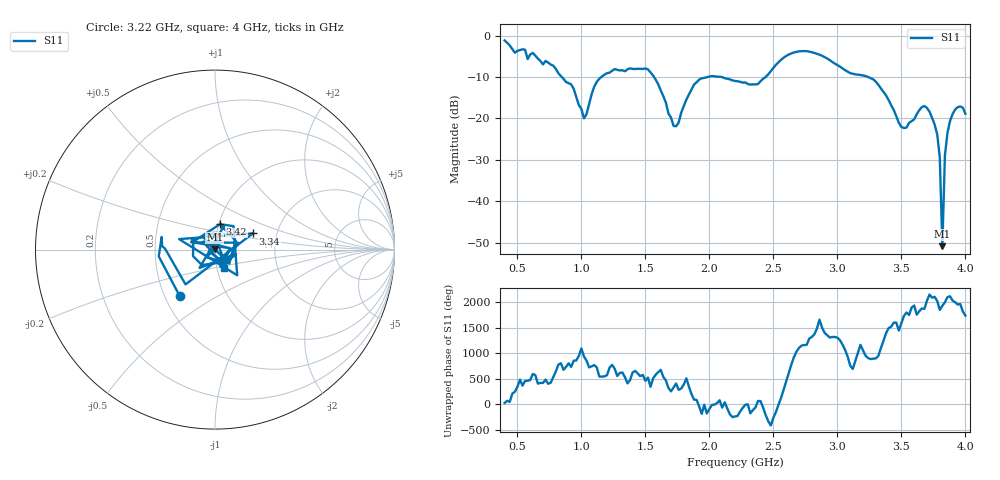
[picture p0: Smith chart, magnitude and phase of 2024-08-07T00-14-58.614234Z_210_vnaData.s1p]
!Created with skrf (http://scikit-rf.org).
# Hz S RI R 50.0
!freq ReS11 ImS11
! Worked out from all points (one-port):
!   181 points, 400 MHz to 4 GHz, reference 50 ohm
!   lowest |S11| = -50.9 dB at 3.82 GHz (marker M1), VSWR 1.01, Z = 49.8 + j0.223 ohm
!   |S11| at or under -10 dB: 1.567 GHz to 1.989 GHz (422 MHz wide, 23.7 % of centre); 2.09 GHz to 2.44 GHz (349.6 MHz wide, 15.4 % of centre); 3.239 GHz to end of sweep (the widest 3 of 4)
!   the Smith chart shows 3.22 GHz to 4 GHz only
!   S11 on the Smith chart (normalised r, x): 3.22 GHz: 0.60, -0.34; 3.34 GHz: 1.50, +0.29; 3.42 GHz: 1.01, +0.29; 4 GHz: 1.08, -0.22
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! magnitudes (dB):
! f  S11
! 400 MHz  -1.2
! 860 MHz  -10.5
! 940 MHz  -12.9
! 1.02 GHz  -20.0
! 1.12 GHz  -11.2
! 1.3 GHz  -8.4
! 1.52 GHz  -8.2
! 1.6 GHz  -11.8
! 1.72 GHz  -21.8
! 1.76 GHz  -21.0
! 1.92 GHz  -10.6
! 2.2 GHz  -11.0
! 2.38 GHz  -11.7
! 2.66 GHz  -4.1
! 3.1 GHz  -9.1
! 3.22 GHz  -9.8
! 3.34 GHz  -12.8
! 3.42 GHz  -16.8
! 3.5 GHz  -22.1
! 3.56 GHz  -21.1
! 3.68 GHz  -17.0
! 3.76 GHz  -21.5
! 3.8 GHz  -29.5
! 3.82 GHz  -50.9
! 3.84 GHz  -29.0
! 3.86 GHz  -23.5
! 3.92 GHz  -17.9
! 4 GHz  -18.9
